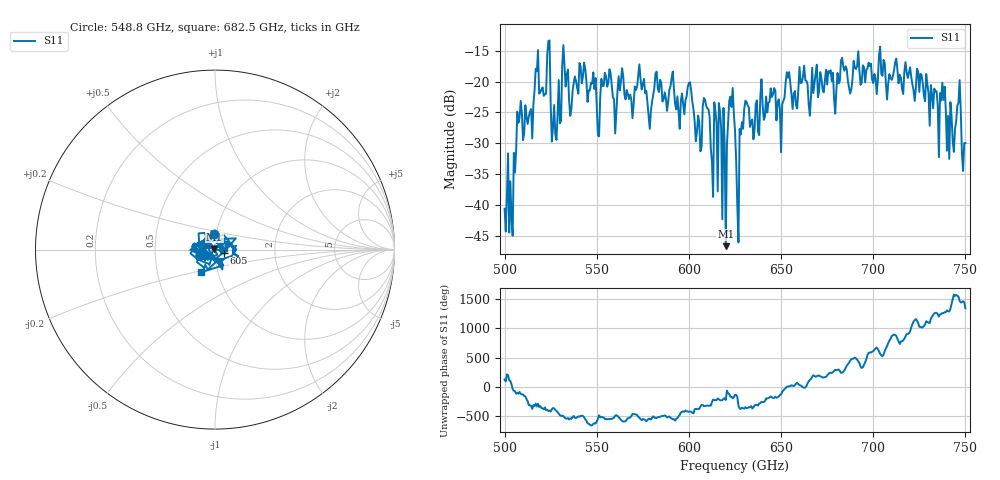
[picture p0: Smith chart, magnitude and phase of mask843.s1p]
!Created with skrf (http://scikit-rf.org).
# GHz S MA R 50.0
!freq magS11 angS11
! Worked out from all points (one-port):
!   401 points, 500 GHz to 750 GHz, reference 50 ohm
!   lowest |S11| = -46.7 dB at 620 GHz (marker M1), VSWR 1.01, Z = 49.7 + j0.335 ohm
!   |S11| at or under -10 dB: start of sweep to end of sweep
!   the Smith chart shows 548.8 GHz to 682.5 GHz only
!   S11 on the Smith chart (normalised r, x): 548.8 GHz: 0.97, +0.17; 605 GHz: 1.10, -0.04; 682.5 GHz: 0.83, -0.21
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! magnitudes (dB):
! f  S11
! 500 GHz  -40.6
! 503.8 GHz  -42.4
! 508.1 GHz  -25.8
! 513.8 GHz  -24.9
! 516.9 GHz  -17.9
! 523.8 GHz  -13.4
! 526.9 GHz  -23.8
! 531.2 GHz  -17.4
! 548.8 GHz  -21.2
! 562.5 GHz  -21.4
! 593.8 GHz  -22.4
! 600.6 GHz  -20.1
! 605 GHz  -25.5
! 609.4 GHz  -24.0
! 611.9 GHz  -30.9
! 620 GHz  -46.7
! 623.1 GHz  -24.1
! 625 GHz  -27.9
! 626.9 GHz  -46.1
! 631.2 GHz  -23.3
! 656.2 GHz  -24.4
! 682.5 GHz  -16.6
! 687.5 GHz  -21.9
! 718.8 GHz  -19.4
! 737.5 GHz  -20.2
! 742.5 GHz  -25.6
! 746.2 GHz  -23.4
! 750 GHz  -30.0
